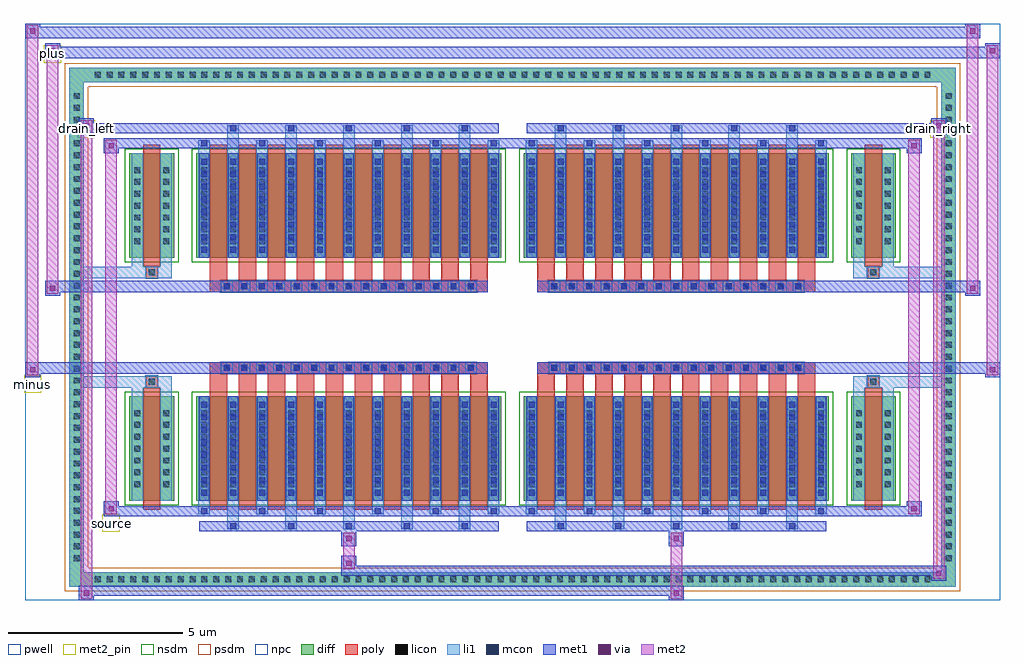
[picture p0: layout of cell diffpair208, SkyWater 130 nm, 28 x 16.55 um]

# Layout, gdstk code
import gdstk
lib = gdstk.Library(unit=1e-6, precision=5e-09)
def R(c, l, rs):  # rectangles x0, y0, x1, y1
    for r in rs: c.add(gdstk.rectangle(r[:2], r[2:], *l))
def A(c, l, x, y, w, h, nx, ny, dx, dy):  # array of equal rectangles
    R(c, l, [(x+i*dx, y+j*dy, x+i*dx+w, y+j*dy+h) for i in range(nx) for j in range(ny)])
def P(c, l, *ps):  # polygons
    for p in ps: c.add(gdstk.Polygon(p, *l))
pwell = (64, 44)
diff = (65, 20)
poly = (66, 20)
licon = (66, 44)
li1 = (67, 20)
mcon = (67, 44)
met1 = (68, 20)
via = (68, 44)
met2_pin = (69, 16)
met2 = (69, 20)
nsdm = (93, 44)
psdm = (94, 20)
npc = (95, 20)

diffpair208 = lib.new_cell('diffpair208')
R(diffpair208, pwell, [(-13.98,-7.84,13.98,8.71), (-11.3,-6.03,-0.01,-0.805), (0.01,-6.03,11.3,-0.805), (-11.3,0.805,-0.01,6.03), (0.01,0.805,11.3,6.03)])
A(diffpair208, diff, -12.105, -7.44, 0.41, 0.41, 71, 2, 0.34, 14.47)
A(diffpair208, diff, -12.71, -6.835, 0.41, 0.41, 1, 40, 0, 0.34)
A(diffpair208, diff, 12.3, -6.835, 0.41, 0.41, 1, 40, 0, 0.34)
R(diffpair208, diff, [(-12.105,-7.44,12.105,-7.03), (-12.71,-6.835,-12.3,6.835), (12.3,-6.835,12.71,6.835), (-10.99,-4.985,-9.71,-1.985), (-9.07,-4.985,-0.32,-1.985), (0.32,-4.985,9.07,-1.985), (9.71,-4.985,10.99,-1.985), (-10.99,1.985,-9.71,4.985), (-9.07,1.985,-0.32,4.985), (0.32,1.985,9.07,4.985), (9.71,1.985,10.99,4.985), (-12.105,7.03,12.105,7.44)])
P(diffpair208, diff, [(12.71,7.44),(-12.71,7.44),(-12.71,-7.03),(-12.3,-7.03),(-12.3,7.03),(12.3,7.03),(12.3,-7.03),(-12.3,-7.03),(-12.71,-7.03),(-12.71,-7.44),(12.71,-7.44)])
A(diffpair208, poly, -8.68, -5.235, 0.5, 3.5, 10, 2, 0.83, 6.97)
A(diffpair208, poly, 0.71, -5.235, 0.5, 3.5, 10, 2, 0.83, 6.97)
A(diffpair208, poly, -8.68, -1.735, 0.5, 0.4, 10, 2, 0.83, 3.07)
A(diffpair208, poly, 0.71, -1.735, 0.5, 0.4, 10, 2, 0.83, 3.07)
A(diffpair208, poly, -8.36, -1.335, 0.33, 0.33, 15, 2, 0.5, 2.34)
A(diffpair208, poly, 1.03, -1.335, 0.33, 0.33, 15, 2, 0.5, 2.34)
R(diffpair208, poly, [(-10.6,-5.235,-10.1,-1.735), (10.1,-5.235,10.6,-1.735), (-10.515,-1.735,-10.185,-1.405), (-10.515,-1.735,-10.185,-1.405), (10.185,-1.735,10.515,-1.405), (10.185,-1.735,10.515,-1.405), (-8.68,-1.335,-0.71,-1.005), (0.71,-1.335,8.68,-1.005), (-8.68,1.005,-0.71,1.335), (0.71,1.005,8.68,1.335), (-10.515,1.405,-10.185,1.735), (-10.515,1.405,-10.185,1.735), (10.185,1.405,10.515,1.735), (10.185,1.405,10.515,1.735), (-10.6,1.735,-10.1,5.235), (10.1,1.735,10.6,5.235)])
A(diffpair208, licon, -11.985, -7.32, 0.17, 0.17, 71, 2, 0.34, 14.47)
A(diffpair208, licon, -12.59, -6.715, 0.17, 0.17, 1, 40, 0, 0.34)
A(diffpair208, licon, 12.42, -6.715, 0.17, 0.17, 1, 40, 0, 0.34)
A(diffpair208, licon, -10.85, -4.59, 0.17, 0.17, 1, 7, 0, 0.34)
A(diffpair208, licon, -10.02, -4.59, 0.17, 0.17, 1, 7, 0, 0.34)
A(diffpair208, licon, -8.93, -4.59, 0.17, 0.17, 11, 7, 0.83, 0.34)
A(diffpair208, licon, 0.46, -4.59, 0.17, 0.17, 11, 7, 0.83, 0.34)
A(diffpair208, licon, 9.85, -4.59, 0.17, 0.17, 1, 7, 0, 0.34)
A(diffpair208, licon, 10.68, -4.59, 0.17, 0.17, 1, 7, 0, 0.34)
A(diffpair208, licon, -8.28, -1.255, 0.17, 0.17, 15, 2, 0.5, 2.34)
A(diffpair208, licon, 1.11, -1.255, 0.17, 0.17, 15, 2, 0.5, 2.34)
A(diffpair208, licon, -10.85, 2.38, 0.17, 0.17, 1, 7, 0, 0.34)
A(diffpair208, licon, -10.02, 2.38, 0.17, 0.17, 1, 7, 0, 0.34)
A(diffpair208, licon, -8.93, 2.38, 0.17, 0.17, 11, 7, 0.83, 0.34)
A(diffpair208, licon, 0.46, 2.38, 0.17, 0.17, 11, 7, 0.83, 0.34)
A(diffpair208, licon, 9.85, 2.38, 0.17, 0.17, 1, 7, 0, 0.34)
A(diffpair208, licon, 10.68, 2.38, 0.17, 0.17, 1, 7, 0, 0.34)
R(diffpair208, licon, [(-10.435,-1.655,-10.265,-1.485), (10.265,-1.655,10.435,-1.485), (-10.435,1.485,-10.265,1.655), (10.265,1.485,10.435,1.655)])
A(diffpair208, li1, -12.065, -7.4, 0.33, 0.33, 71, 2, 0.34, 14.47)
A(diffpair208, li1, -12.67, -6.795, 0.33, 0.33, 1, 40, 0, 0.34)
A(diffpair208, li1, 12.34, -6.795, 0.33, 0.33, 1, 40, 0, 0.34)
A(diffpair208, li1, -8.18, -5.79, 0.33, 0.805, 5, 2, 1.66, 10.775)
A(diffpair208, li1, -8.1, -5.79, 0.17, 0.17, 5, 2, 1.66, 11.41)
A(diffpair208, li1, 1.21, -5.79, 0.33, 0.805, 5, 2, 1.66, 10.775)
A(diffpair208, li1, 1.29, -5.79, 0.17, 0.17, 5, 2, 1.66, 11.41)
A(diffpair208, li1, -9.01, -5.36, 0.33, 0.375, 6, 2, 1.66, 10.345)
A(diffpair208, li1, -8.93, -5.36, 0.17, 0.17, 6, 2, 1.66, 10.55)
A(diffpair208, li1, 0.38, -5.36, 0.33, 0.375, 6, 2, 1.66, 10.345)
A(diffpair208, li1, 0.46, -5.36, 0.17, 0.17, 6, 2, 1.66, 10.55)
A(diffpair208, li1, -9.01, -4.985, 0.33, 3, 11, 2, 0.83, 6.97)
A(diffpair208, li1, 0.38, -4.985, 0.33, 3, 11, 2, 0.83, 6.97)
A(diffpair208, li1, -8.93, -4.83, 0.17, 0.17, 11, 8, 0.83, 0.36)
A(diffpair208, li1, -8.93, -4.83, 0.17, 2.69, 11, 2, 0.83, 6.97)
A(diffpair208, li1, 0.46, -4.83, 0.17, 0.17, 11, 8, 0.83, 0.36)
A(diffpair208, li1, 0.46, -4.83, 0.17, 2.69, 11, 2, 0.83, 6.97)
A(diffpair208, li1, -10.93, -4.67, 0.33, 0.33, 1, 7, 0, 0.34)
A(diffpair208, li1, -10.1, -4.67, 0.33, 0.33, 1, 7, 0, 0.34)
A(diffpair208, li1, -9.01, -4.67, 0.33, 0.33, 11, 7, 0.83, 0.34)
A(diffpair208, li1, 0.38, -4.67, 0.33, 0.33, 11, 7, 0.83, 0.34)
A(diffpair208, li1, 9.77, -4.67, 0.33, 0.33, 1, 7, 0, 0.34)
A(diffpair208, li1, 10.6, -4.67, 0.33, 0.33, 1, 7, 0, 0.34)
A(diffpair208, li1, -8.36, -1.335, 0.33, 0.33, 15, 2, 0.5, 2.34)
A(diffpair208, li1, 1.03, -1.335, 0.33, 0.33, 15, 2, 0.5, 2.34)
A(diffpair208, li1, -8.93, 2.14, 0.17, 0.17, 11, 8, 0.83, 0.36)
A(diffpair208, li1, 0.46, 2.14, 0.17, 0.17, 11, 8, 0.83, 0.36)
A(diffpair208, li1, -10.93, 2.3, 0.33, 0.33, 1, 7, 0, 0.34)
A(diffpair208, li1, -10.1, 2.3, 0.33, 0.33, 1, 7, 0, 0.34)
A(diffpair208, li1, -9.01, 2.3, 0.33, 0.33, 11, 7, 0.83, 0.34)
A(diffpair208, li1, 0.38, 2.3, 0.33, 0.33, 11, 7, 0.83, 0.34)
A(diffpair208, li1, 9.77, 2.3, 0.33, 0.33, 1, 7, 0, 0.34)
A(diffpair208, li1, 10.6, 2.3, 0.33, 0.33, 1, 7, 0, 0.34)
R(diffpair208, li1, [(-12.71,-7.44,-12.3,-7.03), (-12.71,-7.44,-12.3,-7.03), (-12.3,-7.44,12.3,-7.03), (12.3,-7.44,12.71,-7.03), (12.3,-7.44,12.71,-7.03), (-12.71,-7.03,-12.3,7.03), (12.3,-7.03,12.71,7.03), (-10.93,-4.985,-10.6,-1.985), (-10.1,-4.985,-9.77,-1.985), (9.77,-4.985,10.1,-1.985), (10.6,-4.985,10.93,-1.985), (-10.93,-1.985,-10.6,-1.405), (-10.1,-1.985,-9.77,-1.405), (9.77,-1.985,10.1,-1.405), (10.6,-1.985,10.93,-1.405), (-12.71,-1.735,-10.515,-1.405), (-10.93,-1.735,-10.515,-1.405), (-10.515,-1.735,-10.185,-1.405), (-10.185,-1.735,-9.77,-1.405), (9.77,-1.735,10.185,-1.405), (10.185,-1.735,10.515,-1.405), (10.185,-1.735,12.71,-1.405), (10.515,-1.735,10.93,-1.405), (-12.71,1.405,-10.515,1.735), (-10.93,1.405,-10.515,1.735), (-10.93,1.405,-10.6,1.985), (-10.515,1.405,-10.185,1.735), (-10.185,1.405,-9.77,1.735), (-10.1,1.405,-9.77,1.985), (9.77,1.405,10.185,1.735), (9.77,1.405,10.1,1.985), (10.185,1.405,10.515,1.735), (10.185,1.405,12.71,1.735), (10.515,1.405,10.93,1.735), (10.6,1.405,10.93,1.985), (-10.93,1.985,-10.6,4.985), (-10.1,1.985,-9.77,4.985), (9.77,1.985,10.1,4.985), (10.6,1.985,10.93,4.985), (-12.71,7.03,-12.3,7.44), (-12.71,7.03,-12.3,7.44), (-12.3,7.03,12.3,7.44), (12.3,7.03,12.71,7.44), (12.3,7.03,12.71,7.44)])
A(diffpair208, mcon, -8.1, -5.79, 0.17, 0.17, 5, 2, 1.66, 11.41)
A(diffpair208, mcon, 1.29, -5.79, 0.17, 0.17, 5, 2, 1.66, 11.41)
A(diffpair208, mcon, -8.93, -5.36, 0.17, 0.17, 6, 2, 1.66, 10.55)
A(diffpair208, mcon, 0.46, -5.36, 0.17, 0.17, 6, 2, 1.66, 10.55)
A(diffpair208, mcon, -8.93, -4.83, 0.17, 0.17, 11, 8, 0.83, 0.36)
A(diffpair208, mcon, 0.46, -4.83, 0.17, 0.17, 11, 8, 0.83, 0.36)
A(diffpair208, mcon, -8.28, -1.255, 0.17, 0.17, 15, 2, 0.5, 2.34)
A(diffpair208, mcon, 1.11, -1.255, 0.17, 0.17, 15, 2, 0.5, 2.34)
A(diffpair208, mcon, -8.93, 2.14, 0.17, 0.17, 11, 8, 0.83, 0.36)
A(diffpair208, mcon, 0.46, 2.14, 0.17, 0.17, 11, 8, 0.83, 0.36)
A(diffpair208, met1, -8.16, -5.85, 0.29, 0.29, 5, 2, 1.66, 11.41)
A(diffpair208, met1, 1.23, -5.85, 0.29, 0.29, 5, 2, 1.66, 11.41)
A(diffpair208, met1, -8.99, -5.42, 0.29, 0.29, 6, 2, 1.66, 10.55)
A(diffpair208, met1, 0.4, -5.42, 0.29, 0.29, 6, 2, 1.66, 10.55)
A(diffpair208, met1, -8.99, -4.985, 0.29, 3, 11, 2, 0.83, 6.97)
A(diffpair208, met1, 0.4, -4.985, 0.29, 3, 11, 2, 0.83, 6.97)
A(diffpair208, met1, -8.99, -4.89, 0.29, 0.29, 11, 8, 0.83, 0.36)
A(diffpair208, met1, 0.4, -4.89, 0.29, 0.29, 11, 8, 0.83, 0.36)
A(diffpair208, met1, -8.34, -1.315, 0.29, 0.29, 15, 2, 0.5, 2.34)
A(diffpair208, met1, 1.05, -1.315, 0.29, 0.29, 15, 2, 0.5, 2.34)
A(diffpair208, met1, -8.99, 2.08, 0.29, 0.29, 11, 8, 0.83, 0.36)
A(diffpair208, met1, 0.4, 2.08, 0.29, 0.29, 11, 8, 0.83, 0.36)
R(diffpair208, met1, [(-12.44,-7.84,-12.01,-7.41), (4.48,-7.84,4.91,-7.41), (-12.44,-7.7,4.91,-7.41), (12.01,-7.27,12.44,-6.84), (-4.91,-7.13,12.44,-6.84), (-4.91,-6.99,-4.48,-6.56), (-4.91,-6.28,-4.48,-5.85), (4.48,-6.28,4.91,-5.85), (-8.99,-5.85,-0.4,-5.56), (0.4,-5.85,8.99,-5.56), (-11.73,-5.42,-11.3,-4.99), (-11.73,-5.42,-8.99,-5.13), (-8.99,-5.42,-0.4,-5.13), (-0.4,-5.42,0.4,-5.13), (0.4,-5.42,8.99,-5.13), (8.99,-5.42,11.73,-5.13), (11.3,-5.42,11.73,-4.99), (-13.98,-1.435,-13.55,-1.005), (13.55,-1.435,13.98,-1.005), (-13.98,-1.335,-0.71,-1.005), (-8.68,-1.335,-0.71,-1.005), (0.71,-1.335,8.68,-1.005), (0.71,-1.335,13.98,-1.005), (-13.41,0.905,-12.98,1.335), (12.98,0.905,13.41,1.335), (-13.41,1.005,-8.68,1.335), (-8.68,1.005,-0.71,1.335), (0.71,1.005,8.68,1.335), (8.68,1.005,13.41,1.335), (-11.73,4.99,-11.3,5.42), (11.3,4.99,11.73,5.42), (-11.73,5.13,-8.99,5.42), (-8.99,5.13,-0.4,5.42), (-0.4,5.13,0.4,5.42), (0.4,5.13,8.99,5.42), (8.99,5.13,11.73,5.42), (-12.44,5.56,-12.01,5.99), (-12.44,5.56,-8.99,5.85), (-8.99,5.56,-0.4,5.85), (0.4,5.56,8.99,5.85), (8.99,5.56,12.44,5.85), (12.01,5.56,12.44,5.99), (-13.41,7.71,-12.98,8.14), (-13.41,7.71,-11.3,8.04), (-11.3,7.71,11.3,8.04), (11.3,7.71,13.98,8.04), (13.55,7.71,13.98,8.14), (-13.98,8.28,-13.55,8.71), (-13.98,8.28,-11.3,8.61), (-11.3,8.28,11.3,8.61), (11.3,8.28,13.41,8.61), (12.98,8.28,13.41,8.71)])
R(diffpair208, via, [(-12.3,-7.7,-12.15,-7.55), (4.62,-7.7,4.77,-7.55), (12.15,-7.13,12.3,-6.98), (-4.77,-6.85,-4.62,-6.7), (-4.77,-6.14,-4.62,-5.99), (4.62,-6.14,4.77,-5.99), (-11.59,-5.28,-11.44,-5.13), (11.44,-5.28,11.59,-5.13), (-13.84,-1.295,-13.69,-1.145), (13.69,-1.295,13.84,-1.145), (-13.27,1.045,-13.12,1.195), (13.12,1.045,13.27,1.195), (-11.59,5.13,-11.44,5.28), (11.44,5.13,11.59,5.28), (-12.3,5.7,-12.15,5.85), (12.15,5.7,12.3,5.85), (-13.27,7.85,-13.12,8), (13.69,7.85,13.84,8), (-13.84,8.42,-13.69,8.57), (13.12,8.42,13.27,8.57)])
R(diffpair208, met2_pin, [(-11.765,-5.87,-11.265,-5.37), (-14.015,-1.885,-13.515,-1.385), (-12.475,5.44,-11.975,5.94), (11.975,5.44,12.475,5.94), (-13.445,7.59,-12.945,8.09)])
R(diffpair208, met2, [(-12.39,-7.79,-12.06,-7.46), (-12.39,-7.79,-12.06,5.94), (4.53,-7.79,4.86,-7.46), (4.53,-7.46,4.86,-6.23), (12.06,-7.22,12.39,-6.89), (12.06,-7.22,12.39,5.94), (-4.86,-6.94,-4.53,-6.61), (-4.86,-6.61,-4.53,-6.23), (-4.86,-6.23,-4.53,-5.9), (4.53,-6.23,4.86,-5.9), (-11.68,-5.37,-11.35,-5.04), (-11.68,-5.37,-11.35,5.37), (11.35,-5.37,11.68,-5.04), (11.35,-5.37,11.68,5.37), (-13.93,-1.385,-13.6,-1.055), (-13.93,-1.385,-13.6,8.66), (13.6,-1.385,13.93,-1.055), (13.6,-1.385,13.93,8.09), (-13.36,0.955,-13.03,1.285), (-13.36,0.955,-13.03,8.09), (13.03,0.955,13.36,1.285), (13.03,0.955,13.36,8.66), (-11.68,5.04,-11.35,5.37), (11.35,5.04,11.68,5.37), (-12.39,5.61,-12.06,5.94), (12.06,5.61,12.39,5.94), (-13.36,7.76,-13.03,8.09), (13.6,7.76,13.93,8.09), (-13.93,8.33,-13.6,8.66), (13.03,8.33,13.36,8.66)])
P(diffpair208, met2, [(13.93,-1.385),(13.93,-1.385),(13.93,-1.055),(13.93,-1.055)],
  [(13.93,7.76),(13.93,7.76),(13.93,8.09),(13.93,8.09)],
  [(-13.6,-1.385),(-13.6,-1.385),(-13.6,-1.055),(-13.6,-1.055)],
  [(-13.6,8.33),(-13.6,8.33),(-13.6,8.66),(-13.6,8.66)],
  [(13.36,0.955),(13.36,0.955),(13.36,1.285),(13.36,1.285)],
  [(13.36,8.33),(13.36,8.33),(13.36,8.66),(13.36,8.66)],
  [(-13.03,0.955),(-13.03,0.955),(-13.03,1.285),(-13.03,1.285)],
  [(-13.03,7.76),(-13.03,7.76),(-13.03,8.09),(-13.03,8.09)],
  [(-12.06,-7.79),(-12.06,-7.79),(-12.06,-7.46),(-12.06,-7.46)],
  [(-12.06,5.61),(-12.06,5.61),(-12.06,5.94),(-12.06,5.94)],
  [(12.39,-7.22),(12.39,-7.22),(12.39,-6.89),(12.39,-6.89)],
  [(12.39,5.61),(12.39,5.61),(12.39,5.94),(12.39,5.94)],
  [(-11.35,-5.37),(-11.35,-5.37),(-11.35,-5.04),(-11.35,-5.04)],
  [(-11.35,5.04),(-11.35,5.04),(-11.35,5.37),(-11.35,5.37)],
  [(11.68,-5.37),(11.68,-5.37),(11.68,-5.04),(11.68,-5.04)],
  [(11.68,5.04),(11.68,5.04),(11.68,5.37),(11.68,5.37)])
R(diffpair208, nsdm, [(-11.12,-5.115,-9.58,-1.855), (-9.2,-5.115,-0.19,-1.855), (0.19,-5.115,9.2,-1.855), (9.58,-5.115,11.12,-1.855), (-11.12,1.855,-9.58,5.115), (-9.2,1.855,-0.19,5.115), (0.19,1.855,9.2,5.115), (9.58,1.855,11.12,5.115)])
P(diffpair208, psdm, [(12.84,7.57),(-12.84,7.57),(-12.84,-6.9),(-12.17,-6.9),(-12.17,6.9),(12.17,6.9),(12.17,-6.9),(-12.17,-6.9),(-12.84,-6.9),(-12.84,-7.57),(12.84,-7.57)])
A(diffpair208, npc, -8.38, -1.355, 0.37, 0.37, 15, 2, 0.5, 2.34)
A(diffpair208, npc, 1.01, -1.355, 0.37, 0.37, 15, 2, 0.5, 2.34)
R(diffpair208, npc, [(-10.535,-1.755,-10.165,-1.385), (10.165,-1.755,10.535,-1.385), (-8.38,-1.355,-7.51,-0.985), (-8.38,-1.355,-7.51,-0.985), (-7.88,-1.355,-7.01,-0.985), (-7.88,-1.355,-7.01,-0.985), (-7.38,-1.355,-6.51,-0.985), (-7.38,-1.355,-6.51,-0.985), (-6.88,-1.355,-6.01,-0.985), (-6.88,-1.355,-6.01,-0.985), (-6.38,-1.355,-5.51,-0.985), (-6.38,-1.355,-5.51,-0.985), (-5.88,-1.355,-5.01,-0.985), (-5.88,-1.355,-5.01,-0.985), (-5.38,-1.355,-4.51,-0.985), (-5.38,-1.355,-4.51,-0.985), (-4.88,-1.355,-4.01,-0.985), (-4.88,-1.355,-4.01,-0.985), (-4.38,-1.355,-3.51,-0.985), (-4.38,-1.355,-3.51,-0.985), (-3.88,-1.355,-3.01,-0.985), (-3.88,-1.355,-3.01,-0.985), (-3.38,-1.355,-2.51,-0.985), (-3.38,-1.355,-2.51,-0.985), (-2.88,-1.355,-2.01,-0.985), (-2.88,-1.355,-2.01,-0.985), (-2.38,-1.355,-1.51,-0.985), (-2.38,-1.355,-1.51,-0.985), (-1.88,-1.355,-1.01,-0.985), (-1.88,-1.355,-1.01,-0.985), (1.01,-1.355,1.88,-0.985), (1.01,-1.355,1.88,-0.985), (1.51,-1.355,2.38,-0.985), (1.51,-1.355,2.38,-0.985), (2.01,-1.355,2.88,-0.985), (2.01,-1.355,2.88,-0.985), (2.51,-1.355,3.38,-0.985), (2.51,-1.355,3.38,-0.985), (3.01,-1.355,3.88,-0.985), (3.01,-1.355,3.88,-0.985), (3.51,-1.355,4.38,-0.985), (3.51,-1.355,4.38,-0.985), (4.01,-1.355,4.88,-0.985), (4.01,-1.355,4.88,-0.985), (4.51,-1.355,5.38,-0.985), (4.51,-1.355,5.38,-0.985), (5.01,-1.355,5.88,-0.985), (5.01,-1.355,5.88,-0.985), (5.51,-1.355,6.38,-0.985), (5.51,-1.355,6.38,-0.985), (6.01,-1.355,6.88,-0.985), (6.01,-1.355,6.88,-0.985), (6.51,-1.355,7.38,-0.985), (6.51,-1.355,7.38,-0.985), (7.01,-1.355,7.88,-0.985), (7.01,-1.355,7.88,-0.985), (7.51,-1.355,8.38,-0.985), (7.51,-1.355,8.38,-0.985), (-8.38,0.985,-7.51,1.355), (-8.38,0.985,-7.51,1.355), (-7.88,0.985,-7.01,1.355), (-7.88,0.985,-7.01,1.355), (-7.38,0.985,-6.51,1.355), (-7.38,0.985,-6.51,1.355), (-6.88,0.985,-6.01,1.355), (-6.88,0.985,-6.01,1.355), (-6.38,0.985,-5.51,1.355), (-6.38,0.985,-5.51,1.355), (-5.88,0.985,-5.01,1.355), (-5.88,0.985,-5.01,1.355), (-5.38,0.985,-4.51,1.355), (-5.38,0.985,-4.51,1.355), (-4.88,0.985,-4.01,1.355), (-4.88,0.985,-4.01,1.355), (-4.38,0.985,-3.51,1.355), (-4.38,0.985,-3.51,1.355), (-3.88,0.985,-3.01,1.355), (-3.88,0.985,-3.01,1.355), (-3.38,0.985,-2.51,1.355), (-3.38,0.985,-2.51,1.355), (-2.88,0.985,-2.01,1.355), (-2.88,0.985,-2.01,1.355), (-2.38,0.985,-1.51,1.355), (-2.38,0.985,-1.51,1.355), (-1.88,0.985,-1.01,1.355), (-1.88,0.985,-1.01,1.355), (1.01,0.985,1.88,1.355), (1.01,0.985,1.88,1.355), (1.51,0.985,2.38,1.355), (1.51,0.985,2.38,1.355), (2.01,0.985,2.88,1.355), (2.01,0.985,2.88,1.355), (2.51,0.985,3.38,1.355), (2.51,0.985,3.38,1.355), (3.01,0.985,3.88,1.355), (3.01,0.985,3.88,1.355), (3.51,0.985,4.38,1.355), (3.51,0.985,4.38,1.355), (4.01,0.985,4.88,1.355), (4.01,0.985,4.88,1.355), (4.51,0.985,5.38,1.355), (4.51,0.985,5.38,1.355), (5.01,0.985,5.88,1.355), (5.01,0.985,5.88,1.355), (5.51,0.985,6.38,1.355), (5.51,0.985,6.38,1.355), (6.01,0.985,6.88,1.355), (6.01,0.985,6.88,1.355), (6.51,0.985,7.38,1.355), (6.51,0.985,7.38,1.355), (7.01,0.985,7.88,1.355), (7.01,0.985,7.88,1.355), (7.51,0.985,8.38,1.355), (7.51,0.985,8.38,1.355), (-10.535,1.385,-10.165,1.755), (10.165,1.385,10.535,1.755)])
diffpair208.add(gdstk.Label('minus', (-13.765,-1.635), layer=69, texttype=5))
diffpair208.add(gdstk.Label('drain_right', (12.225,5.69), layer=69, texttype=5))
diffpair208.add(gdstk.Label('drain_left', (-12.225,5.69), layer=69, texttype=5))
diffpair208.add(gdstk.Label('source', (-11.515,-5.62), layer=69, texttype=5))
diffpair208.add(gdstk.Label('plus', (-13.195,7.84), layer=69, texttype=5))

lib.write_gds('diffpair208.gds')
